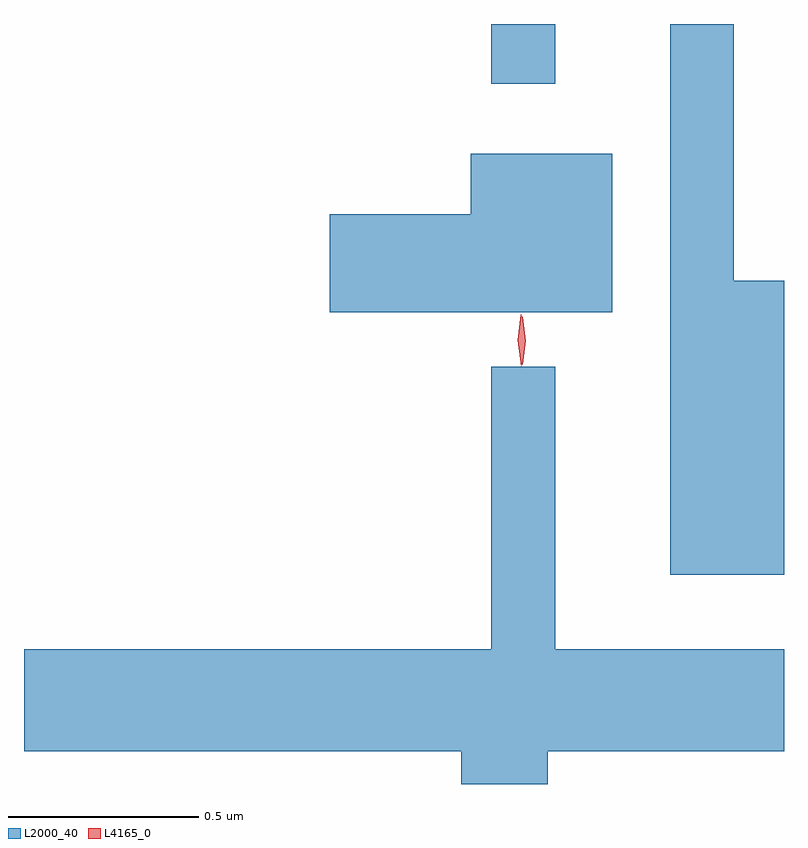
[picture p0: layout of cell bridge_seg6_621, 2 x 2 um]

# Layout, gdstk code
import gdstk
lib = gdstk.Library(unit=1e-6, precision=1e-09)
def R(c, l, rs):  # rectangles x0, y0, x1, y1
    for r in rs: c.add(gdstk.rectangle(r[:2], r[2:], *l))
def P(c, l, *ps):  # polygons
    for p in ps: c.add(gdstk.Polygon(p, *l))
L2000_40 = (2000, 40)
L4165_0 = (4165, 0)

bridge_seg6_621 = lib.new_cell('bridge_seg6_621')
R(bridge_seg6_621, L2000_40, [(465.841,1600.633,466.009,1600.79)])
P(bridge_seg6_621, L2000_40, [(466.611,1600.114),(466.479,1600.114),(466.479,1600.79),(466.311,1600.79),(466.311,1599.341),(466.611,1599.341)],
  [(466.159,1600.449),(465.786,1600.449),(465.786,1600.289),(465.416,1600.289),(465.416,1600.031),(466.159,1600.031)],
  [(465.989,1598.876),(466.611,1598.876),(466.611,1599.144),(466.009,1599.144),(466.009,1599.888),(465.841,1599.888),(465.841,1599.144),(464.611,1599.144),(464.611,1598.876),(465.761,1598.876),(465.761,1598.79),(465.989,1598.79)])
P(bridge_seg6_621, L4165_0, [(465.919,1599.89),(465.91,1599.958),(465.918,1600.025),(465.919,1600.026),(465.92,1600.025),(465.929,1599.958),(465.92,1599.89),(465.92,1599.89)],
  [(465.922,1599.893),(465.922,1599.894),(465.912,1599.956),(465.922,1600.02),(465.922,1600.02),(465.923,1600.02),(465.932,1599.956),(465.923,1599.894)])

lib.write_gds('bridge_seg6_621.gds')
